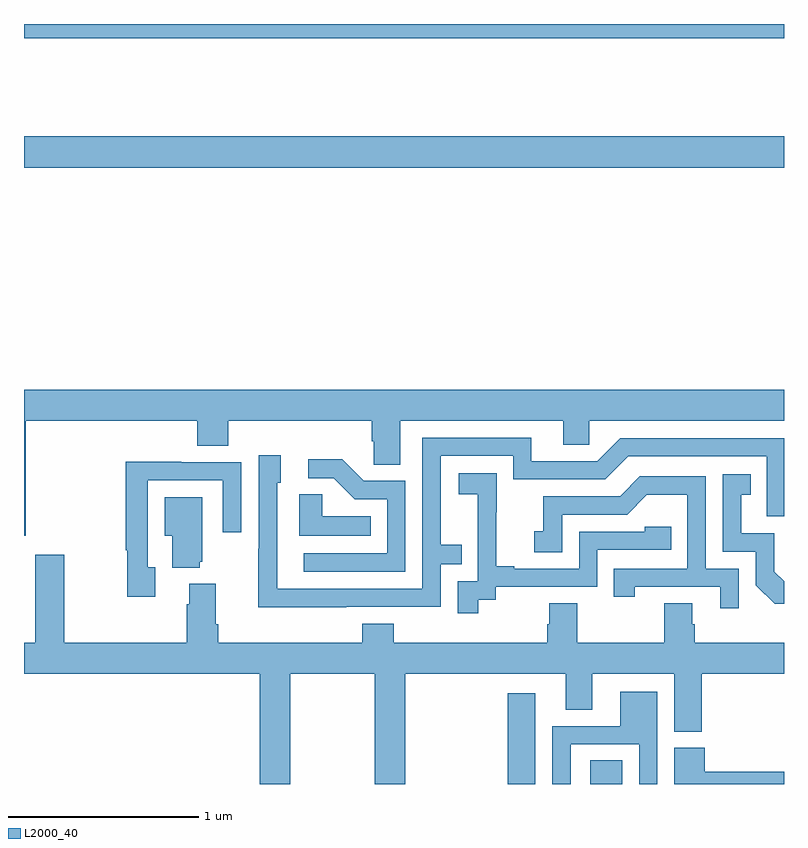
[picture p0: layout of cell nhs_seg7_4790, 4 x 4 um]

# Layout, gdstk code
import gdstk
lib = gdstk.Library(unit=1e-6, precision=1e-09)
def R(c, l, rs):  # rectangles x0, y0, x1, y1
    for r in rs: c.add(gdstk.rectangle(r[:2], r[2:], *l))
def P(c, l, *ps):  # polygons
    for p in ps: c.add(gdstk.Polygon(p, *l))
L2000_40 = (2000, 40)

nhs_seg7_4790 = lib.new_cell('nhs_seg7_4790')
R(nhs_seg7_4790, L2000_40, [(413.546,1036,413.692,1036.477), (413.981,1036,414.148,1036.124), (411,1039.244,415,1039.408), (411,1039.924,415,1040)])
P(nhs_seg7_4790, L2000_40, [(411.01,1037.912),(411.911,1037.912),(411.911,1037.779),(412.076,1037.779),(412.076,1037.912),(412.829,1037.912),(412.829,1037.803),(412.842,1037.803),(412.842,1037.68),(412.981,1037.68),(412.981,1037.912),(413.837,1037.912),(413.837,1037.785),(413.976,1037.785),(413.976,1037.912),(415,1037.912),(415,1038.076),(411,1038.076),(411,1037.306),(411.01,1037.306)],
  [(412.697,1036.932),(413.193,1036.932),(413.193,1037.157),(413.303,1037.157),(413.303,1037.258),(413.193,1037.258),(413.193,1037.727),(413.574,1037.727),(413.574,1037.604),(414.06,1037.604),(414.18,1037.724),(414.909,1037.724),(414.909,1037.409),(415,1037.409),(415,1037.82),(414.138,1037.82),(414.018,1037.7),(413.671,1037.7),(413.671,1037.823),(413.097,1037.823),(413.097,1037.028),(412.332,1037.028),(412.332,1037.586),(412.351,1037.586),(412.351,1037.731),(412.236,1037.731),(412.236,1037.237),(412.234,1037.237),(412.234,1036.93),(412.697,1036.93)],
  [(413.007,1037.595),(412.788,1037.595),(412.675,1037.708),(412.497,1037.708),(412.497,1037.61),(412.631,1037.61),(412.742,1037.499),(412.911,1037.499),(412.911,1037.214),(412.473,1037.214),(412.473,1037.118),(413.007,1037.118)],
  [(411.691,1037.142),(411.651,1037.142),(411.651,1037.598),(412.047,1037.598),(412.047,1037.325),(412.143,1037.325),(412.143,1037.694),(411.827,1037.694),(411.827,1037.696),(411.535,1037.696),(411.535,1037.23),(411.543,1037.23),(411.543,1036.986),(411.691,1036.986)],
  [(413.392,1036.969),(413.484,1036.969),(413.484,1037.037),(414.018,1037.037),(414.018,1037.232),(414.407,1037.232),(414.407,1037.355),(414.267,1037.355),(414.267,1037.328),(413.922,1037.328),(413.922,1037.133),(413.581,1037.133),(413.581,1037.146),(413.486,1037.146),(413.486,1037.429),(413.487,1037.429),(413.487,1037.635),(413.289,1037.635),(413.289,1037.525),(413.387,1037.525),(413.387,1037.297),(413.388,1037.297),(413.388,1037.067),(413.283,1037.067),(413.283,1036.899),(413.392,1036.899)],
  [(415,1037.066),(414.948,1037.118),(414.948,1037.319),(414.775,1037.319),(414.775,1037.523),(414.824,1037.523),(414.824,1037.629),(414.678,1037.629),(414.678,1037.223),(414.852,1037.223),(414.852,1037.046),(414.95,1036.949),(415,1036.949)],
  [(414.762,1037.133),(414.588,1037.133),(414.588,1037.619),(414.242,1037.619),(414.137,1037.514),(413.734,1037.514),(413.734,1037.329),(413.685,1037.329),(413.685,1037.22),(413.832,1037.22),(413.832,1037.418),(414.174,1037.418),(414.278,1037.522),(414.492,1037.522),(414.492,1037.133),(414.103,1037.133),(414.103,1036.986),(414.214,1036.986),(414.214,1037.037),(414.665,1037.037),(414.665,1036.926),(414.762,1036.926)],
  [(412.826,1037.41),(412.569,1037.41),(412.569,1037.525),(412.448,1037.525),(412.448,1037.306),(412.826,1037.306)],
  [(411.926,1037.169),(411.937,1037.169),(411.937,1037.509),(411.74,1037.509),(411.74,1037.306),(411.779,1037.306),(411.779,1037.138),(411.926,1037.138)],
  [(412.401,1036.58),(412.846,1036.58),(412.846,1036),(413.006,1036),(413.006,1036.58),(413.852,1036.58),(413.852,1036.39),(413.992,1036.39),(413.992,1036.58),(414.422,1036.58),(414.422,1036.276),(414.566,1036.276),(414.566,1036.58),(415,1036.58),(415,1036.744),(414.53,1036.744),(414.53,1036.842),(414.517,1036.842),(414.517,1036.952),(414.37,1036.952),(414.37,1036.744),(413.913,1036.744),(413.913,1036.952),(413.765,1036.952),(413.765,1036.842),(413.753,1036.842),(413.753,1036.744),(412.946,1036.744),(412.946,1036.843),(412.781,1036.843),(412.781,1036.744),(412.022,1036.744),(412.022,1036.84),(412.009,1036.84),(412.009,1037.053),(411.869,1037.053),(411.869,1036.946),(411.857,1036.946),(411.857,1036.744),(411.213,1036.744),(411.213,1037.206),(411.058,1037.206),(411.058,1036.744),(411,1036.744),(411,1036.58),(412.241,1036.58),(412.241,1036),(412.401,1036)],
  [(413.877,1036.209),(414.237,1036.209),(414.237,1036),(414.333,1036),(414.333,1036.486),(414.137,1036.486),(414.137,1036.305),(413.781,1036.305),(413.781,1036),(413.877,1036)],
  [(415,1036.064),(414.584,1036.064),(414.584,1036.191),(414.422,1036.191),(414.422,1036),(415,1036)])

lib.write_gds('nhs_seg7_4790.gds')
